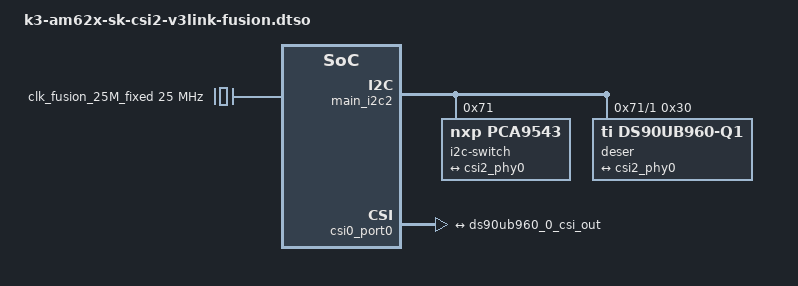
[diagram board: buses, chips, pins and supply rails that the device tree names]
// SPDX-License-Identifier: GPL-2.0
/*
 * DT Overlay for Arducam V3Link UC-A09 board
 * https://www.arducam.com/fpd-link-3-cameras/
 *
 * Copyright (C) 2024 Texas Instruments Incorporated - http://www.ti.com/
 */

/dts-v1/;
/plugin/;

#include <dt-bindings/gpio/gpio.h>

&{/} {
	clk_fusion_25M_fixed: fixed-clock-25M {
		compatible = "fixed-clock";
		#clock-cells = <0>;
		clock-frequency = <25000000>;
	};
};

&main_i2c2 {
	#address-cells = <1>;
	#size-cells = <0>;
	status = "okay";

	i2c-switch@71 {
		compatible = "nxp,pca9543";
		#address-cells = <1>;
		#size-cells = <0>;
		reg = <0x71>;

		i2c@1 {
			#address-cells = <1>;
			#size-cells = <0>;
			reg = <1>;

			deser@30 {
				compatible = "ti,ds90ub960-q1";
				reg = <0x30>;

				clock-names = "refclk";
				clocks = <&clk_fusion_25M_fixed>;

				i2c-alias-pool = <0x4a 0x4b 0x4c 0x4d 0x4e 0x4f>;

				ds90ub960_0_ports: ports {
					#address-cells = <1>;
					#size-cells = <0>;

					/* CSI-2 TX */
					port@4 {
						reg = <4>;
						ds90ub960_0_csi_out: endpoint {
							data-lanes = <1 2 3 4>;
							clock-lanes = <0>;
							link-frequencies = /bits/ 64 <800000000>;
							remote-endpoint = <&csi2_phy0>;
						};
					};
				};

				ds90ub960_0_links: links {
					#address-cells = <1>;
					#size-cells = <0>;
				};
			};
		};
	};
};

&csi0_port0 {
	status = "okay";

	csi2_phy0: endpoint {
		remote-endpoint = <&ds90ub960_0_csi_out>;
		data-lanes = <1 2 3 4>;
		clock-lanes = <0>;
		link-frequencies = /bits/ 64 <800000000>;
	};
};
